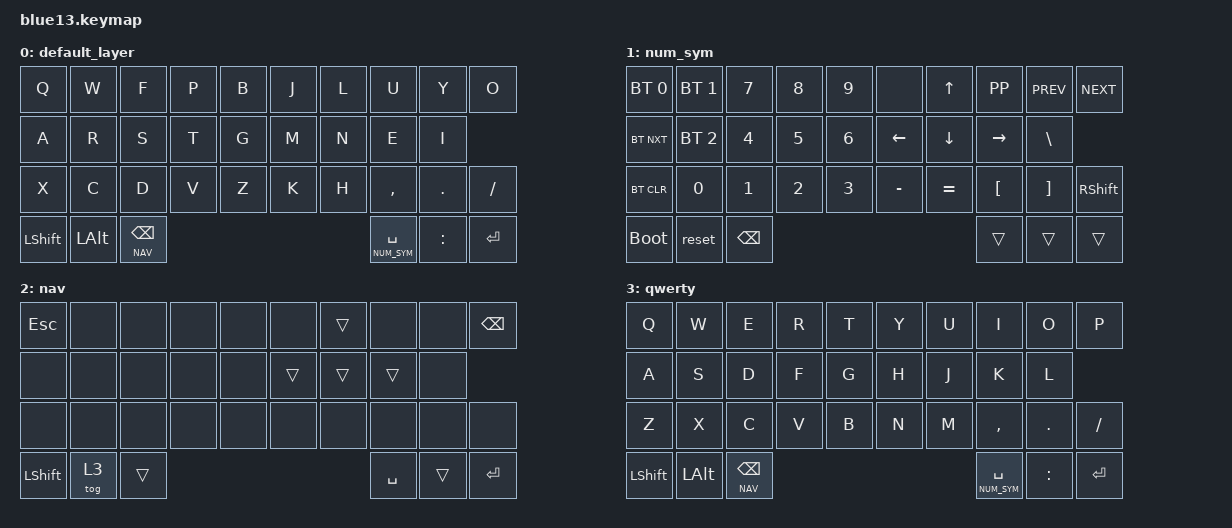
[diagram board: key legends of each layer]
/*
 * Copyright (c) 2020 The ZMK Contributors
 *
 * SPDX-License-Identifier: MIT
 */

#include <behaviors.dtsi>
#include <dt-bindings/zmk/keys.h>
#include <dt-bindings/zmk/bt.h>

#define DEFAULT 0
#define NUM_SYM 1
#define NAV     2
#define QWERTY 3
/ {
    behaviors {
        hm: homerow_mods {
            compatible = "zmk,behavior-hold-tap";
            label = "homerow mods";
            #binding-cells = <2>;
            tapping-term-ms = <225>;
            flavor = "tap-preferred";
            bindings = <&kp>, <&kp>;
        };
    };
};

/ {
    keymap {
        compatible = "zmk,keymap";

        default_layer {
            bindings = <
&kp Q	&kp W	&kp F	&kp P	&kp B	&kp J	&kp L	&kp U	&kp Y	&kp O
&kp A	&kp R	&kp S	&kp T	&kp G	&kp M	&kp N	&kp	E	&kp I
&kp X	&kp C	&kp D	&kp V	&kp Z	&kp K	&kp H	&kp COMMA	&kp DOT	&kp FSLH
&kp LSHFT	&kp LALT	&lt NAV BSPC	&lt NUM_SYM SPACE	&kp COLON	&kp RET
            >;
        };
        num_sym {
            bindings = <
    &bt BT_SEL 0	&bt BT_SEL 1	&kp N7	&kp N8	&kp N9	&none	&kp UP	&kp K_PP	&kp	K_PREV	&kp K_NEXT
    &bt BT_NXT	&bt BT_SEL 2	&kp N4	&kp N5	&kp N6	&kp LEFT	&kp DOWN	&kp RIGHT	&kp BSLH  
    &bt BT_CLR	&kp N0	&kp N1	&kp N2	&kp N3	&kp MINUS	&kp EQUAL	&kp LBKT	&kp RBKT	&kp RSHFT
    &bootloader	&reset	&kp BSPC	&trans	&trans	&trans 
            >;
        };

    nav {
            bindings = <
    &kp ESC	&none	&none	&none	&none	&none	&trans	&none	&none	&kp BSPC
    &none	&none	&none	&none	&none	&trans	&trans	&trans	&none	
    &none	&none	&none	&none	&none	&none	&none	&none	&none	&none
    &kp LSHFT	&tog 3	&trans	&kp SPACE	&trans	&kp RET
            >;
        };
	
	qwerty {
			bindings = <
&kp Q	&kp W	&kp E	&kp R	&kp T	&kp Y	&kp U	&kp I	&kp O	&kp P
&kp A	&kp S	&kp D	&kp F	&kp G	&kp H	&kp J	&kp	K	&kp L
&kp Z	&kp X	&kp C	&kp V	&kp B	&kp N	&kp M	&kp COMMA	&kp DOT	&kp FSLH
&kp LSHFT	&kp LALT	&lt NAV BSPC	&lt NUM_SYM SPACE	&kp COLON	&kp RET
		>;
		};
    };
};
